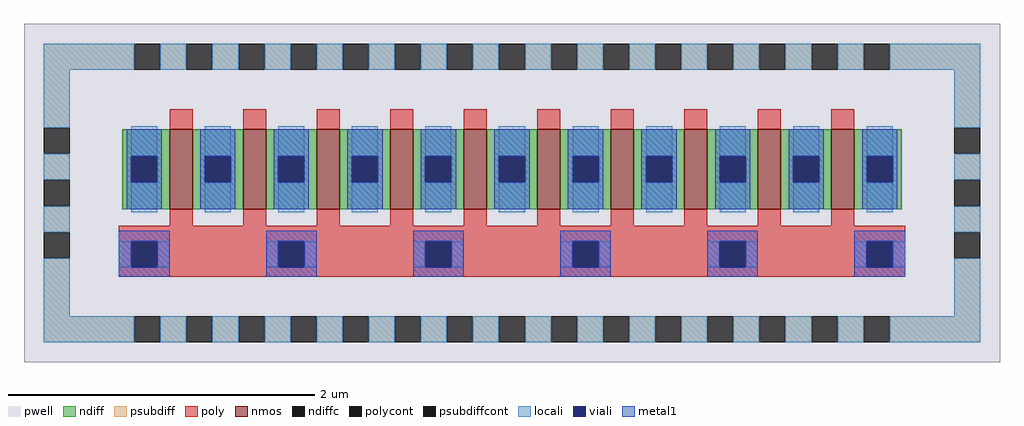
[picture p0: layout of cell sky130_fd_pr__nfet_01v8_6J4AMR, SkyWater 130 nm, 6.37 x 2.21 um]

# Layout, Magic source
magic
tech sky130A
magscale 1 2
<< pwell >>
rect -636 -252 638 190
<< nmos >>
rect -446 -52 -416 52
rect -350 -52 -320 52
rect -254 -52 -224 52
rect -158 -52 -128 52
rect -62 -52 -32 52
rect 34 -52 64 52
rect 130 -52 160 52
rect 226 -52 256 52
rect 322 -52 352 52
rect 418 -52 448 52
<< ndiff >>
rect -508 17 -446 52
rect -508 -17 -496 17
rect -462 -17 -446 17
rect -508 -52 -446 -17
rect -416 17 -350 52
rect -416 -17 -400 17
rect -366 -17 -350 17
rect -416 -52 -350 -17
rect -320 17 -254 52
rect -320 -17 -304 17
rect -270 -17 -254 17
rect -320 -52 -254 -17
rect -224 17 -158 52
rect -224 -17 -208 17
rect -174 -17 -158 17
rect -224 -52 -158 -17
rect -128 17 -62 52
rect -128 -17 -112 17
rect -78 -17 -62 17
rect -128 -52 -62 -17
rect -32 17 34 52
rect -32 -17 -16 17
rect 18 -17 34 17
rect -32 -52 34 -17
rect 64 17 130 52
rect 64 -17 80 17
rect 114 -17 130 17
rect 64 -52 130 -17
rect 160 17 226 52
rect 160 -17 176 17
rect 210 -17 226 17
rect 160 -52 226 -17
rect 256 17 322 52
rect 256 -17 272 17
rect 306 -17 322 17
rect 256 -52 322 -17
rect 352 17 418 52
rect 352 -17 368 17
rect 402 -17 418 17
rect 352 -52 418 -17
rect 448 17 510 52
rect 448 -17 464 17
rect 498 -17 510 17
rect 448 -52 510 -17
<< ndiffc >>
rect -496 -17 -462 17
rect -400 -17 -366 17
rect -304 -17 -270 17
rect -208 -17 -174 17
rect -112 -17 -78 17
rect -16 -17 18 17
rect 80 -17 114 17
rect 176 -17 210 17
rect 272 -17 306 17
rect 368 -17 402 17
rect 464 -17 498 17
<< psubdiff >>
rect -610 130 -492 164
rect -458 130 -424 164
rect -390 130 -356 164
rect -322 130 -288 164
rect -254 130 -220 164
rect -186 130 -152 164
rect -118 130 -84 164
rect -50 130 -16 164
rect 18 130 52 164
rect 86 130 120 164
rect 154 130 188 164
rect 222 130 256 164
rect 290 130 324 164
rect 358 130 392 164
rect 426 130 460 164
rect 494 130 612 164
rect -610 54 -576 130
rect 578 54 612 130
rect -610 -14 -576 20
rect -610 -82 -576 -48
rect 578 -14 612 20
rect -610 -192 -576 -116
rect 578 -82 612 -48
rect 578 -192 612 -116
rect -610 -226 -492 -192
rect -458 -226 -424 -192
rect -390 -226 -356 -192
rect -322 -226 -288 -192
rect -254 -226 -220 -192
rect -186 -226 -152 -192
rect -118 -226 -84 -192
rect -50 -226 -16 -192
rect 18 -226 52 -192
rect 86 -226 120 -192
rect 154 -226 188 -192
rect 222 -226 256 -192
rect 290 -226 324 -192
rect 358 -226 392 -192
rect 426 -226 460 -192
rect 494 -226 612 -192
<< psubdiffcont >>
rect -492 130 -458 164
rect -424 130 -390 164
rect -356 130 -322 164
rect -288 130 -254 164
rect -220 130 -186 164
rect -152 130 -118 164
rect -84 130 -50 164
rect -16 130 18 164
rect 52 130 86 164
rect 120 130 154 164
rect 188 130 222 164
rect 256 130 290 164
rect 324 130 358 164
rect 392 130 426 164
rect 460 130 494 164
rect -610 20 -576 54
rect -610 -48 -576 -14
rect 578 20 612 54
rect 578 -48 612 -14
rect -610 -116 -576 -82
rect 578 -116 612 -82
rect -492 -226 -458 -192
rect -424 -226 -390 -192
rect -356 -226 -322 -192
rect -288 -226 -254 -192
rect -220 -226 -186 -192
rect -152 -226 -118 -192
rect -84 -226 -50 -192
rect -16 -226 18 -192
rect 52 -226 86 -192
rect 120 -226 154 -192
rect 188 -226 222 -192
rect 256 -226 290 -192
rect 324 -226 358 -192
rect 392 -226 426 -192
rect 460 -226 494 -192
<< poly >>
rect -446 52 -416 78
rect -350 52 -320 78
rect -254 52 -224 78
rect -158 52 -128 78
rect -62 52 -32 78
rect 34 52 64 78
rect 130 52 160 78
rect 226 52 256 78
rect 322 52 352 78
rect 418 52 448 78
rect -446 -74 -416 -52
rect -350 -74 -320 -52
rect -254 -74 -224 -52
rect -158 -74 -128 -52
rect -62 -74 -32 -52
rect 34 -74 64 -52
rect 130 -74 160 -52
rect 226 -74 256 -52
rect 322 -74 352 -52
rect 418 -74 448 -52
rect -512 -94 514 -74
rect -512 -128 -496 -94
rect -462 -128 -304 -94
rect -270 -128 -112 -94
rect -78 -128 80 -94
rect 114 -128 272 -94
rect 306 -128 464 -94
rect 498 -128 514 -94
rect -512 -140 514 -128
<< polycont >>
rect -496 -128 -462 -94
rect -304 -128 -270 -94
rect -112 -128 -78 -94
rect 80 -128 114 -94
rect 272 -128 306 -94
rect 464 -128 498 -94
<< locali >>
rect -610 130 -492 164
rect -458 130 -424 164
rect -390 130 -356 164
rect -322 130 -288 164
rect -254 130 -220 164
rect -186 130 -152 164
rect -118 130 -84 164
rect -50 130 -16 164
rect 18 130 52 164
rect 86 130 120 164
rect 154 130 188 164
rect 222 130 256 164
rect 290 130 324 164
rect 358 130 392 164
rect 426 130 460 164
rect 494 130 612 164
rect -610 54 -576 130
rect -610 -14 -576 20
rect -610 -82 -576 -48
rect -496 17 -462 56
rect -496 -56 -462 -17
rect -400 17 -366 56
rect -400 -56 -366 -17
rect -304 17 -270 56
rect -304 -56 -270 -17
rect -208 17 -174 56
rect -208 -56 -174 -17
rect -112 17 -78 56
rect -112 -56 -78 -17
rect -16 17 18 56
rect -16 -56 18 -17
rect 80 17 114 56
rect 80 -56 114 -17
rect 176 17 210 56
rect 176 -56 210 -17
rect 272 17 306 56
rect 272 -56 306 -17
rect 368 17 402 56
rect 368 -56 402 -17
rect 464 17 498 56
rect 464 -56 498 -17
rect 578 54 612 130
rect 578 -14 612 20
rect 578 -82 612 -48
rect -610 -192 -576 -116
rect -512 -128 -496 -94
rect -462 -128 -446 -94
rect -320 -128 -304 -94
rect -270 -128 -254 -94
rect -128 -128 -112 -94
rect -78 -128 -62 -94
rect 64 -128 80 -94
rect 114 -128 130 -94
rect 256 -128 272 -94
rect 306 -128 322 -94
rect 448 -128 464 -94
rect 498 -128 514 -94
rect 578 -192 612 -116
rect -610 -226 -492 -192
rect -458 -226 -424 -192
rect -390 -226 -356 -192
rect -322 -226 -288 -192
rect -254 -226 -220 -192
rect -186 -226 -152 -192
rect -118 -226 -84 -192
rect -50 -226 -16 -192
rect 18 -226 52 -192
rect 86 -226 120 -192
rect 154 -226 188 -192
rect 222 -226 256 -192
rect 290 -226 324 -192
rect 358 -226 392 -192
rect 426 -226 460 -192
rect 494 -226 612 -192
<< viali >>
rect -496 -17 -462 17
rect -400 -17 -366 17
rect -304 -17 -270 17
rect -208 -17 -174 17
rect -112 -17 -78 17
rect -16 -17 18 17
rect 80 -17 114 17
rect 176 -17 210 17
rect 272 -17 306 17
rect 368 -17 402 17
rect 464 -17 498 17
rect -496 -128 -462 -94
rect -304 -128 -270 -94
rect -112 -128 -78 -94
rect 80 -128 114 -94
rect 272 -128 306 -94
rect 464 -128 498 -94
<< metal1 >>
rect -502 17 -456 52
rect -502 -17 -496 17
rect -462 -17 -456 17
rect -502 -52 -456 -17
rect -406 17 -360 52
rect -406 -17 -400 17
rect -366 -17 -360 17
rect -406 -52 -360 -17
rect -310 17 -264 52
rect -310 -17 -304 17
rect -270 -17 -264 17
rect -310 -52 -264 -17
rect -214 17 -168 52
rect -214 -17 -208 17
rect -174 -17 -168 17
rect -214 -52 -168 -17
rect -118 17 -72 52
rect -118 -17 -112 17
rect -78 -17 -72 17
rect -118 -52 -72 -17
rect -22 17 24 52
rect -22 -17 -16 17
rect 18 -17 24 17
rect -22 -52 24 -17
rect 74 17 120 52
rect 74 -17 80 17
rect 114 -17 120 17
rect 74 -52 120 -17
rect 170 17 216 52
rect 170 -17 176 17
rect 210 -17 216 17
rect 170 -52 216 -17
rect 266 17 312 52
rect 266 -17 272 17
rect 306 -17 312 17
rect 266 -52 312 -17
rect 362 17 408 52
rect 362 -17 368 17
rect 402 -17 408 17
rect 362 -52 408 -17
rect 458 17 504 52
rect 458 -17 464 17
rect 498 -17 504 17
rect 458 -52 504 -17
rect -512 -94 -446 -80
rect -512 -128 -496 -94
rect -462 -128 -446 -94
rect -512 -140 -446 -128
rect -320 -94 -254 -80
rect -320 -128 -304 -94
rect -270 -128 -254 -94
rect -320 -140 -254 -128
rect -128 -94 -62 -80
rect -128 -128 -112 -94
rect -78 -128 -62 -94
rect -128 -140 -62 -128
rect 64 -94 130 -80
rect 64 -128 80 -94
rect 114 -128 130 -94
rect 64 -140 130 -128
rect 256 -94 322 -80
rect 256 -128 272 -94
rect 306 -128 322 -94
rect 256 -140 322 -128
rect 448 -94 514 -80
rect 448 -128 464 -94
rect 498 -128 514 -94
rect 448 -140 514 -128
<< properties >>
string FIXED_BBOX -594 -210 594 210
<< end >>
